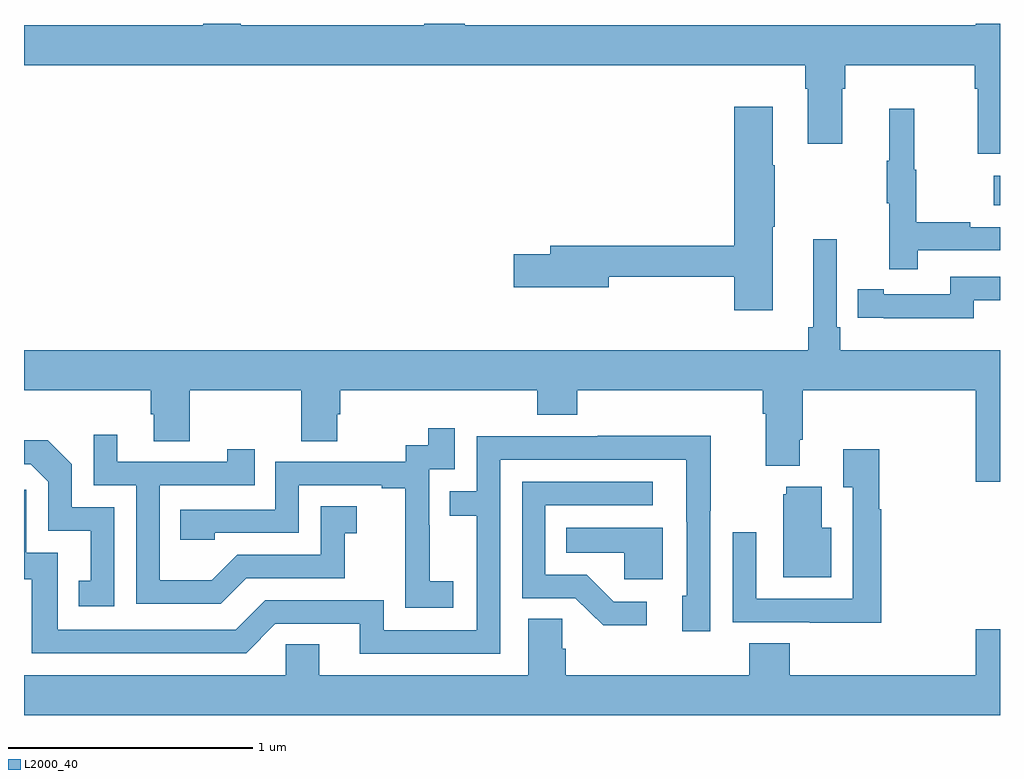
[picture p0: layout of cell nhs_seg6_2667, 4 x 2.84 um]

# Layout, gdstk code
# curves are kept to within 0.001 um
import gdstk
lib = gdstk.Library(unit=1e-6, precision=1e-09)
def R(c, l, rs):  # rectangles x0, y0, x1, y1
    for r in rs: c.add(gdstk.rectangle(r[:2], r[2:], *l))
def P(c, l, *ps):  # polygons
    for p in ps: c.add(gdstk.Polygon(p, *l))
L2000_40 = (2000, 40)

nhs_seg6_2667 = lib.new_cell('nhs_seg6_2667')
R(nhs_seg6_2667, L2000_40, [(272.975,954.755,273,954.877)])
P(nhs_seg6_2667, L2000_40, [(273,955.5),(272.9,955.5),(272.9,955.492),(270.806,955.492),(270.806,955.5),(270.641,955.5),(270.641,955.492),(269.888,955.492),(269.888,955.5),(269.735,955.5),(269.735,955.492),(269,955.492),(269,955.328),(272.201,955.328),(272.201,955.232),(272.213,955.232),(272.213,955.008),(272.353,955.008),(272.353,955.232),(272.366,955.232),(272.366,955.328),(272.897,955.328),(272.897,955.232),(272.909,955.232),(272.909,954.966),(273,954.966)],
  [(272.068,954.667),(272.076,954.667),(272.076,954.92),(272.068,954.92),(272.068,955.159),(271.91,955.159),(271.91,954.59),(271.157,954.59),(271.157,954.554),(271.008,954.554),(271.008,954.419),(271.396,954.419),(271.396,954.462),(271.91,954.462),(271.91,954.324),(272.068,954.324)],
  [(272.663,954.57),(273,954.57),(273,954.666),(272.879,954.666),(272.879,954.686),(272.656,954.686),(272.656,954.9),(272.648,954.9),(272.648,955.15),(272.546,955.15),(272.546,954.937),(272.535,954.937),(272.535,954.763),(272.546,954.763),(272.546,954.492),(272.663,954.492)],
  [(273,954.16),(272.345,954.16),(272.345,954.256),(272.331,954.256),(272.331,954.616),(272.234,954.616),(272.234,954.256),(272.215,954.256),(272.215,954.16),(269,954.16),(269,953.996),(269.519,953.996),(269.519,953.898),(269.531,953.898),(269.531,953.788),(269.679,953.788),(269.679,953.996),(270.136,953.996),(270.136,953.788),(270.283,953.788),(270.283,953.898),(270.296,953.898),(270.296,953.996),(271.103,953.996),(271.103,953.897),(271.268,953.897),(271.268,953.996),(272.027,953.996),(272.027,953.9),(272.039,953.9),(272.039,953.687),(272.179,953.687),(272.179,953.794),(272.192,953.794),(272.192,953.996),(272.9,953.996),(272.9,953.622),(273,953.622)],
  [(272.892,954.366),(273,954.366),(273,954.462),(272.796,954.462),(272.796,954.39),(272.524,954.39),(272.524,954.41),(272.416,954.41),(272.416,954.294),(272.524,954.294),(272.524,954.293),(272.892,954.293)],
  [(270.76,953.215),(270.662,953.215),(270.662,953.444),(270.66,953.444),(270.66,953.673),(270.765,953.673),(270.765,953.842),(270.657,953.842),(270.657,953.772),(270.564,953.772),(270.564,953.703),(270.03,953.703),(270.03,953.508),(269.641,953.508),(269.641,953.385),(269.781,953.385),(269.781,953.412),(270.126,953.412),(270.126,953.607),(270.467,953.607),(270.467,953.595),(270.563,953.595),(270.563,953.311),(270.562,953.311),(270.562,953.105),(270.76,953.105)],
  [(269.911,953.226),(270.315,953.226),(270.315,953.411),(270.364,953.411),(270.364,953.521),(270.216,953.521),(270.216,953.322),(269.874,953.322),(269.77,953.218),(269.556,953.218),(269.556,953.607),(269.945,953.607),(269.945,953.755),(269.834,953.755),(269.834,953.703),(269.383,953.703),(269.383,953.815),(269.286,953.815),(269.286,953.607),(269.46,953.607),(269.46,953.121),(269.806,953.121)],
  [(270.951,953.712),(271.715,953.712),(271.716,953.154),(271.697,953.154),(271.697,953.01),(271.812,953.01),(271.812,953.503),(271.815,953.503),(271.815,953.81),(271.351,953.81),(271.351,953.808),(270.855,953.808),(270.855,953.583),(270.745,953.583),(270.745,953.482),(270.855,953.482),(270.855,953.013),(270.474,953.013),(270.474,953.136),(269.988,953.136),(269.868,953.016),(269.139,953.016),(269.139,953.331),(269.01,953.331),(269.01,953.59),(269,953.59),(269,953.223),(269.031,953.223),(269.031,952.92),(269.91,952.92),(270.03,953.04),(270.377,953.04),(270.377,952.917),(270.951,952.917)],
  [(269.37,953.517),(269.196,953.517),(269.196,953.694),(269.098,953.792),(269,953.792),(269,953.694),(269.028,953.694),(269.1,953.622),(269.1,953.421),(269.273,953.421),(269.273,953.217),(269.224,953.217),(269.224,953.112),(269.37,953.112)],
  [(272.513,953.51),(272.506,953.51),(272.506,953.755),(272.357,953.755),(272.357,953.599),(272.397,953.599),(272.397,953.142),(272.001,953.142),(272.001,953.416),(271.905,953.416),(271.905,953.046),(272.221,953.046),(272.221,953.045),(272.513,953.045)],
  [(271.552,953.13),(271.417,953.13),(271.306,953.241),(271.137,953.241),(271.137,953.526),(271.576,953.526),(271.576,953.622),(271.041,953.622),(271.041,953.145),(271.26,953.145),(271.373,953.033),(271.552,953.033)],
  [(272.308,953.434),(272.269,953.434),(272.269,953.602),(272.123,953.602),(272.123,953.571),(272.111,953.571),(272.111,953.231),(272.308,953.231)],
  [(271.618,953.434),(271.222,953.434),(271.222,953.33),(271.461,953.33),(271.461,953.222),(271.618,953.222)],
  [(273,953.017),(272.9,953.017),(272.9,952.828),(272.138,952.828),(272.138,952.961),(271.973,952.961),(271.973,952.828),(271.22,952.828),(271.22,952.937),(271.206,952.937),(271.206,953.06),(271.067,953.06),(271.067,952.828),(270.211,952.828),(270.211,952.955),(270.072,952.955),(270.072,952.828),(269,952.828),(269,952.664),(273,952.664)])

lib.write_gds('nhs_seg6_2667.gds')
